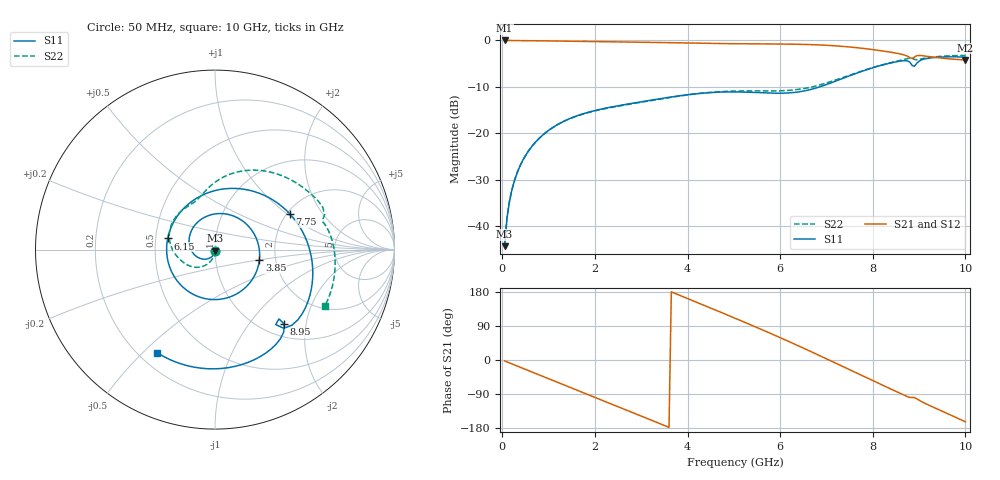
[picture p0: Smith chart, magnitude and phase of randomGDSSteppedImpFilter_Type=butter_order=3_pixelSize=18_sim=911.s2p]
! freq	dB(S11)	phase(S11)	dB(S12)	phase(S12)
!  dB(S21)	phase(S21)	dB(S22)	phase(S22)
!S-par simulation data
#  GHz  S  DB  R 50
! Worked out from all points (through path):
!   200 points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, 50 MHz to 10 GHz, reference 50 ohm
!   highest |S21| = -0.01 dB at 50 MHz (marker M1); lowest = -4.2 dB at 10 GHz (marker M2)
!   group delay of S21, straight-line fit = 146 ps
!   lowest |S11| = -44.4 dB at 50 MHz (marker M3), VSWR 1.01, Z = 50.1 - j0.602 ohm
!   |S11| at or under -10 dB: start of sweep to 6.86 GHz
!   |S22| runs from -44.3 to -3.2 dB; largest |S21 - S12| = 0
!   S11 on the Smith chart (normalised r, x): 50 MHz: 1.00, -0.01; 3.85 GHz: 1.64, -0.20; 6.15 GHz: 0.58, +0.08; 7.75 GHz: 2.07, +1.05; 8.95 GHz: 1.24, -1.51; 10 GHz: 0.27, -0.55
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0.05  -44.37 -84.3  -0.01 -2.5  -0.01 -2.5  -44.33 -82.7
0.1  -38.45 -91.9  -0.02 -5.0  -0.02 -5.0  -38.39 -88.7
0.2  -32.56 -101.1  -0.03 -10.0  -0.03 -10.0  -32.49 -94.6
0.5  -24.87 -123.0  -0.05 -24.8  -0.05 -24.8  -24.83 -106.6
1.15  -18.41 -167.6  -0.13 -56.7  -0.13 -56.7  -18.41 -127.6
1.75  -15.81 149.7  -0.21 -86.2  -0.21 -86.2  -15.86 -144.0
2.5  -14.10 92.7  -0.31 -123.0  -0.31 -123.0  -14.19 -160.5
3.4  -12.58 21.6  -0.46 -167.7  -0.46 -167.7  -12.67 -178.0
3.85  -11.91 -13.0  -0.54 169.7  -0.54 169.7  -11.97 172.1
4.4  -11.32 -53.8  -0.64 142.1  -0.64 142.1  -11.29 158.1
5.05  -11.11 -101.6  -0.72 109.0  -0.72 109.0  -10.92 140.2
5.6  -11.29 -144.7  -0.75 80.4  -0.75 80.4  -10.90 125.8
6.15  -11.35 166.8  -0.80 50.9  -0.80 50.9  -10.80 113.7
6.7  -10.48 114.2  -0.92 20.2  -0.92 20.2  -10.00 102.9
7.2  -8.78 69.0  -1.18 -8.3  -1.18 -8.3  -8.53 90.1
7.75  -6.71 25.7  -1.68 -40.1  -1.68 -40.1  -6.64 70.3
8.35  -4.95 -15.7  -2.49 -74.3  -2.49 -74.3  -4.89 44.1
8.75  -4.42 -44.5  -3.41 -96.8  -3.41 -96.8  -3.91 24.6
8.85  -5.40 -51.0  -3.89 -98.8  -3.89 -98.8  -3.86 17.7
8.95  -4.93 -47.1  -3.30 -102.4  -3.30 -102.4  -4.16 14.7
9.45  -3.61 -80.4  -3.78 -132.5  -3.78 -132.5  -3.45 -5.4
10  -3.62 -119.1  -4.22 -163.1  -4.22 -163.1  -3.25 -27.4
